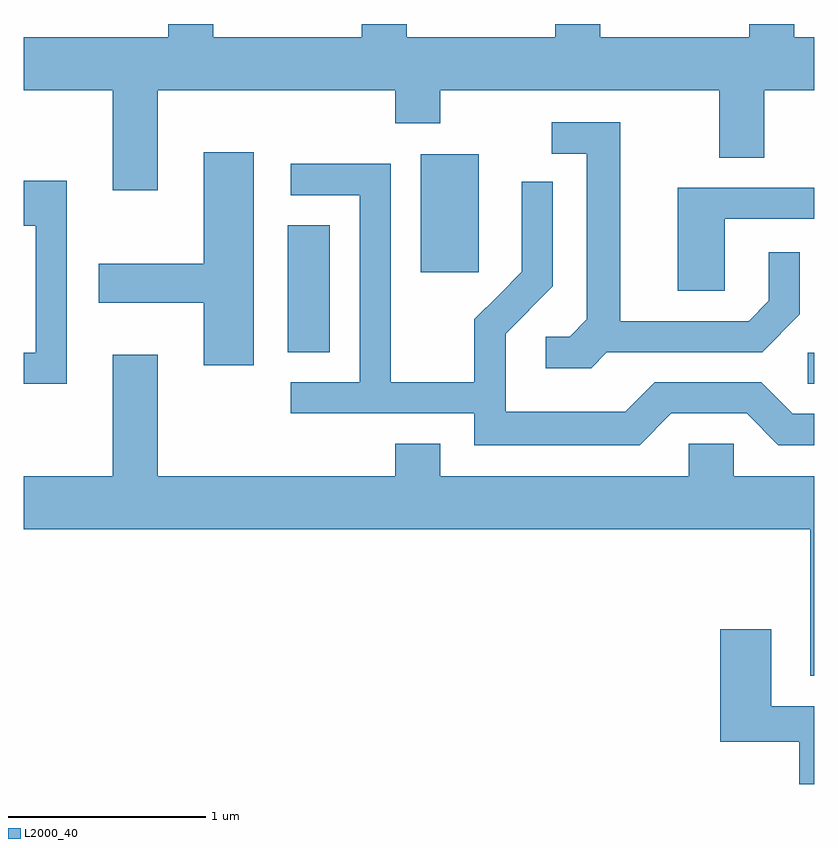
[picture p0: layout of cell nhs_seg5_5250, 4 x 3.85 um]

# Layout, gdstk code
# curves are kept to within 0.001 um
import gdstk
lib = gdstk.Library(unit=1e-6, precision=1e-09)
def R(c, l, rs):  # rectangles x0, y0, x1, y1
    for r in rs: c.add(gdstk.rectangle(r[:2], r[2:], *l))
def P(c, l, *ps):  # polygons
    for p in ps: c.add(gdstk.Polygon(p, *l))
L2000_40 = (2000, 40)

nhs_seg5_5250 = lib.new_cell('nhs_seg5_5250')
R(nhs_seg5_5250, L2000_40, [(345.578,1404.251,345.611,1404.409), (342.946,1404.411,343.159,1405.054), (343.621,1404.816,343.914,1405.414)])
P(nhs_seg5_5250, L2000_40, [(342.289,1405.736),(343.491,1405.736),(343.491,1405.571),(343.719,1405.571),(343.719,1405.736),(345.131,1405.736),(345.131,1405.396),(345.359,1405.396),(345.359,1405.736),(345.611,1405.736),(345.611,1406.004),(345.509,1406.004),(345.509,1406.072),(345.281,1406.072),(345.281,1406.004),(344.529,1406.004),(344.529,1406.072),(344.301,1406.072),(344.301,1406.004),(343.549,1406.004),(343.549,1406.072),(343.321,1406.072),(343.321,1406.004),(342.569,1406.004),(342.569,1406.072),(342.341,1406.072),(342.341,1406.004),(341.611,1406.004),(341.611,1405.736),(342.061,1405.736),(342.061,1405.231),(342.289,1405.231)],
  [(344.562,1404.411),(345.347,1404.411),(345.539,1404.604),(345.539,1404.918),(345.381,1404.918),(345.381,1404.672),(345.279,1404.569),(344.629,1404.569),(344.629,1405.574),(344.283,1405.574),(344.283,1405.416),(344.461,1405.416),(344.461,1404.577),(344.374,1404.489),(344.253,1404.489),(344.253,1404.331),(344.482,1404.331)],
  [(342.774,1405.424),(342.521,1405.424),(342.521,1404.859),(341.991,1404.859),(341.991,1404.661),(342.521,1404.661),(342.521,1404.346),(342.774,1404.346)],
  [(344.887,1404.101),(345.269,1404.101),(345.429,1403.941),(345.611,1403.941),(345.611,1404.099),(345.502,1404.099),(345.342,1404.259),(344.804,1404.259),(344.654,1404.109),(344.049,1404.109),(344.049,1404.504),(344.289,1404.744),(344.289,1405.273),(344.131,1405.273),(344.131,1404.817),(343.891,1404.577),(343.891,1404.259),(343.469,1404.259),(343.469,1405.364),(342.963,1405.364),(342.963,1405.206),(343.311,1405.206),(343.311,1404.259),(342.963,1404.259),(342.963,1404.101),(343.891,1404.101),(343.891,1403.941),(344.727,1403.941)],
  [(341.829,1405.279),(341.611,1405.279),(341.611,1405.051),(341.671,1405.051),(341.671,1404.409),(341.611,1404.409),(341.611,1404.251),(341.829,1404.251)],
  [(345.159,1405.086),(345.611,1405.086),(345.611,1405.244),(344.921,1405.244),(344.921,1404.721),(345.159,1404.721)],
  [(345.611,1403.784),(345.204,1403.784),(345.204,1403.949),(344.976,1403.949),(344.976,1403.784),(343.719,1403.784),(343.719,1403.949),(343.491,1403.949),(343.491,1403.784),(342.289,1403.784),(342.289,1404.399),(342.061,1404.399),(342.061,1403.784),(341.611,1403.784),(341.611,1403.516),(345.591,1403.516),(345.591,1402.773),(345.611,1402.773)],
  [(345.611,1402.619),(345.394,1402.619),(345.394,1403.009),(345.136,1403.009),(345.136,1402.441),(345.536,1402.441),(345.536,1402.226),(345.611,1402.226)])

lib.write_gds('nhs_seg5_5250.gds')
